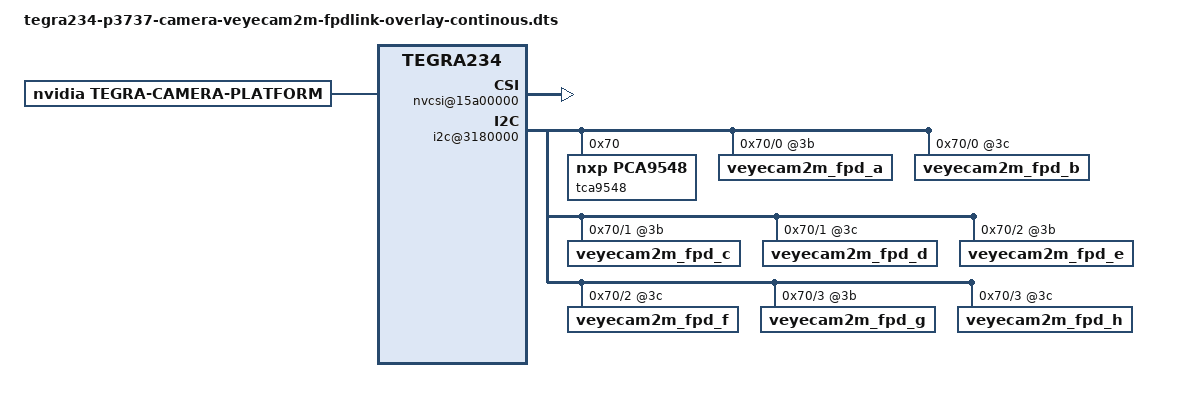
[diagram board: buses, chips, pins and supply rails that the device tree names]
// SPDX-License-Identifier: GPL-2.0-only
// SPDX-FileCopyrightText: Copyright (c) 2015-2024, www.veye.cc.  All rights reserved.

/dts-v1/;
/plugin/;

#include <dt-bindings/clock/tegra234-clock.h>
#include <dt-bindings/gpio/tegra234-gpio.h>
#include <dt-bindings/tegra234-p3737-0000+p3701-0000.h>

#include "tegra234-p3737-fpdlink-8chn-90ub954-common-continous.dtsi"
#include "tegra234-camera-fpdlink-veyecam2m-a00.dtsi"

/ {
	overlay-name = "Jetson Camera VEYE2M fpdlink module";
	jetson-header-name = "Jetson AGX CSI Connector";
	
	compatible = JETSON_COMPATIBLE;
	fragment@1 {
		target-path = "/";
		__overlay__ {
            /* all cameras are enabled by default */
             tegra-capture-vi {
                ports {
                     status = "okay";
                     port@0 {
                        status = "okay";
                         endpoint {
                            status = "okay";
                        };
                    };
                     port@1 {
                        status = "okay";
                         endpoint {
                            status = "okay";
                        };
                    };
                     port@2 {
                        status = "okay";
                         endpoint {
                            status = "okay";
                        };
                    };
                     port@3 {
                        status = "okay";
                         endpoint {
                            status = "okay";
                        };
                    };
                     port@4 {
                        status = "okay";
                         endpoint {
                            status = "okay";
                        };
                    };
                     port@5 {
                        status = "okay";
                         endpoint {
                            status = "okay";
                        };
                    };
                     port@6 {
                        status = "okay";
                         endpoint {
                            status = "okay";
                        };
                    };
                     port@7 {
                        status = "okay";
                         endpoint {
                            status = "okay";
                        };
                    };
                };
            };
            
            tegra-camera-platform {
                    compatible = "nvidia, tegra-camera-platform";
                    
                    /**
                    * tpg_max_iso = <>;
                    * Max iso bw for 6 streams of tpg
                    * streams * nvcsi_freq * PG_bitrate / RG10 * BPP
                    * 6 * 102Mhz * 32 bits/ 10 bits * 2 Bps
                    * = 3916.8 MBps
                    */
                    tpg_max_iso = <3916800>;

                    modules {
                         module0 {
                            status = "okay";
                             drivernode0 {
                                status = "okay";
                            };
                            
                        };
                         module1 {
                            status = "okay";
                             drivernode0 {
                                status = "okay";
                            };
                            
                        };
                         module2 {
                            status = "okay";
                             drivernode0 {
                                status = "okay";
                            };
                            
                        };
                         module3 {
                            status = "okay";
                             drivernode0 {
                                status = "okay";
                            };
                            
                        };
                         module4 {
                            status = "okay";
                             drivernode0 {
                                status = "okay";
                            };
                            
                        };
                        module5 {
                            status = "okay";
                             drivernode0 {
                                status = "okay";
                            };
                            
                        };
                        module6 {
                            status = "okay";
                             drivernode0 {
                                status = "okay";
                            };
                            
                        };
                        module7 {
                            status = "okay";
                             drivernode0 {
                                status = "okay";
                            };
                            
                        };
                    };
                };
                
        bus@0 {
            host1x@13e00000 {
                 nvcsi@15a00000 {
                    status = "okay";
                    num-tpg-channels = <36>;
                     channel@0 {
                        status = "okay";
                        ports {
				status = "okay";
                             port@0 {
                                status = "okay";
                                 endpoint@0 {
                                    status = "okay";
                                };
                            };
                             port@1 {
                                status = "okay";
                                 endpoint@1 {
                                    status = "okay";
                                };
                            };
                        };
                    };
                     channel@1 {
                        status = "okay";
                        ports {
				status = "okay";
                             port@0 {
                                status = "okay";
                                 endpoint@2 {
                                    status = "okay";
                                };
                            };
                             port@1 {
                                status = "okay";
                                 endpoint@3 {
                                    status = "okay";
                                };
                            };
                        };
                    };
                     channel@2 {
                        status = "okay";
                        ports {
				status = "okay";
                             port@0 {
                                status = "okay";
                                 endpoint@4 {
                                    status = "okay";
                                };
                            };
                             port@1 {
                                status = "okay";
                                 endpoint@5 {
                                    status = "okay";
                                };
                            };
                        };
                    };
                     channel@3 {
                        status = "okay";
                        ports {
				status = "okay";
                             port@0 {
                                status = "okay";
                                 endpoint@6 {
                                    status = "okay";
                                };
                            };
                             port@1 {
                                status = "okay";
                                 endpoint@7 {
                                    status = "okay";
                                };
                            };
                        };
                    };
                     channel@4 {
                        status = "okay";
                        ports {
				status = "okay";
                             port@0 {
                                status = "okay";
                                 endpoint@8 {
                                    status = "okay";
                                };
                            };
                             port@1 {
                                status = "okay";
                                 endpoint@9 {
                                    status = "okay";
                                };
                            };
                        };
                    };
                     channel@5 {
                        status = "okay";
                        ports {
				status = "okay";
                             port@0 {
                                status = "okay";
                                 endpoint@10 {
                                    status = "okay";
                                };
                            };
                             port@1 {
                                status = "okay";
                                 endpoint@11 {
                                    status = "okay";
                                };
                            };
                        };
                    };
                     channel@6 {
                        status = "okay";
                        ports {
				status = "okay";
                             port@0 {
                                status = "okay";
                                 endpoint@12 {
                                    status = "okay";
                                };
                            };
                             port@1 {
                                status = "okay";
                                 endpoint@13 {
                                    status = "okay";
                                };
                            };
                        };
                    };
                     channel@7 {
                        status = "okay";
                        ports {
				status = "okay";
                             port@0 {
                                status = "okay";
                                 endpoint@14 {
                                    status = "okay";
                                };
                            };
                             port@1 {
                                status = "okay";
                                 endpoint@15 {
                                    status = "okay";
                                };
                            };
                        };
                    };
                };
            };
            
                i2c@3180000 {
                    tca9548@70 {
                        status = "okay";
                        compatible = "nxp,pca9548";
                        reg = <0x70>;
                        #address-cells = <1>;
                        #size-cells = <0>;
                        skip_mux_detect;
                        i2c@0 {
                            reg = <0>;
                            i2c-mux,deselect-on-exit;
                            #address-cells = <1>;
                            #size-cells = <0>;
                             veyecam2m_fpd_a@3b {
                                status = "okay";
                                mode0 {
                                        discontinuous_clk = "no";
                                    };
                                ports {
                                    status = "okay";
                                    port@0 {
                                        status = "okay";
                                        endpoint {
                                            status = "okay";
                                        };
                                    };
                                };
                            };
                            veyecam2m_fpd_b@3c {
                                status = "okay";
                                mode0 {
                                        discontinuous_clk = "no";
                                    };
                                ports {
                                    status = "okay";
                                    port@0 {
                                        status = "okay";
                                        endpoint {
                                            status = "okay";
                                        };
                                    };
                                };
                            };
                        };
                        i2c@1 {
                            reg = <1>;
                            i2c-mux,deselect-on-exit;
                            #address-cells = <1>;
                            #size-cells = <0>;
                             veyecam2m_fpd_c@3b {
                                status = "okay";
                                mode0 {
                                        discontinuous_clk = "no";
                                    };
                                ports {
                                    status = "okay";
                                    port@0 {
                                        status = "okay";
                                        endpoint {
                                            status = "okay";
                                        };
                                    };
                                };
                            };
                             veyecam2m_fpd_d@3c {
                                status = "okay";
                                mode0 {
                                        discontinuous_clk = "no";
                                    };
                                ports {
                                    status = "okay";
                                    port@0 {
                                        status = "okay";
                                        endpoint {
                                            status = "okay";
                                        };
                                    };
                                };
                            };
                        };
                        i2c@2 {
                            reg = <2>;
                            i2c-mux,deselect-on-exit;
                            #address-cells = <1>;
                            #size-cells = <0>;
                             veyecam2m_fpd_e@3b {
                                status = "okay";
                                mode0 {
                                        discontinuous_clk = "no";
                                    };
                                ports {
                                    status = "okay";
                                    port@0 {
                                        status = "okay";
                                        endpoint {
                                            status = "okay";
                                        };
                                    };
                                };
                            };
                             veyecam2m_fpd_f@3c {
                                status = "okay";
                                mode0 {
                                        discontinuous_clk = "no";
                                    };
                                ports {
                                    status = "okay";
                                    port@0 {
                                        status = "okay";
                                        endpoint {
                                            status = "okay";
                                        };
                                    };
                                };
                            };
                        };
                        i2c@3 {
                            reg = <3>;
                            i2c-mux,deselect-on-exit;
                            #address-cells = <1>;
                            #size-cells = <0>;
                             veyecam2m_fpd_g@3b {
                                status = "okay";
                                mode0 {
                                        discontinuous_clk = "no";
                                    };
                                ports {
                                    status = "okay";
                                    port@0 {
                                        status = "okay";
                                        endpoint {
                                            status = "okay";
                                        };
                                    };
                                };
                            };
                             veyecam2m_fpd_h@3c {
                                status = "okay";
                                 mode0 {
                                        discontinuous_clk = "no";
                                    };
                                ports {
                                    status = "okay";
                                    port@0 {
                                        status = "okay";
                                        endpoint {
                                            status = "okay";
                                        };
                                    };
                                };
                            };
                        };
                    };
                };
            };
        };
    };
};

